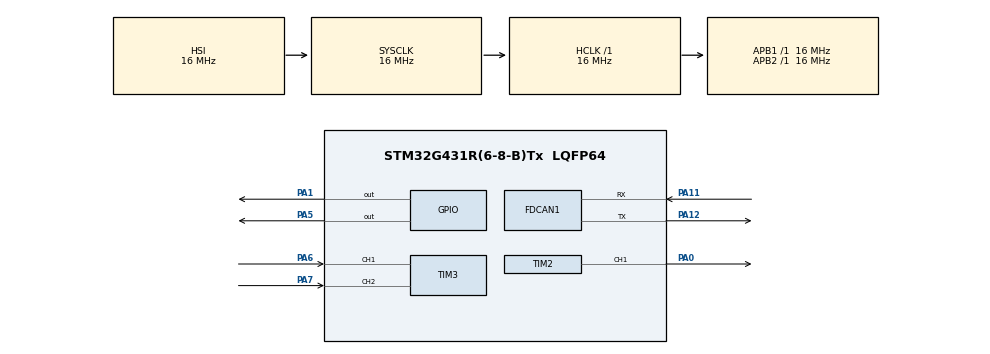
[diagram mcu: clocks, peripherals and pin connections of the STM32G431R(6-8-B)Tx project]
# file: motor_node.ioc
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FDCAN1.CalculateBaudRateNominal=500000
FDCAN1.CalculateTimeBitNominal=2000
FDCAN1.CalculateTimeQuantumNominal=125.0
FDCAN1.NominalPrescaler=2
FDCAN1.NominalSyncJumpWidth=2
FDCAN1.NominalTimeSeg1=13
FDCAN1.NominalTimeSeg2=2
FDCAN1.StdFiltersNbr=4
FREERTOS.Queues01=ControlCommandQueue,8,ControlCommand,0,Dynamic,NULL,NULL
FREERTOS.Tasks01=defaultTask,24,128,StartDefaultTask,Default,NULL,Dynamic,NULL,NULL;CAN_Rx_Task,24,256,StartCAN_Rx_Task,Default,NULL,Dynamic,NULL,NULL;CAN_Tx_Task,24,256,StartCAN_Tx_Task,Default,NULL,Dynamic,NULL,NULL;System_Task,24,256,StartSystem_Task,Default,NULL,Dynamic,NULL,NULL;Watchdog_Task,24,128,StartWatchdog_Task,Default,NULL,Dynamic,NULL,NULL
FREERTOS.configTOTAL_HEAP_SIZE=8192 
IWDG.Prescaler=IWDG_PRESCALER_16
IWDG.Reload=3999
Mcu.Family=STM32G4
Mcu.Name=STM32G431R(6-8-B)Tx
Mcu.Package=LQFP64
NVIC.FDCAN1_IT0_IRQn=true\:5\:0\:false\:false\:true\:true\:true\:true\:true
NVIC.PriorityGroup=NVIC_PRIORITYGROUP_4
NVIC.TIM6_DAC_IRQn=true\:5\:0\:false\:false\:true\:true\:true\:true\:true
PA0.Signal=S_TIM2_CH1
PA1.Signal=GPIO_Output
PA11.Mode=FDCAN_Activate
PA11.Signal=FDCAN1_RX
PA12.Mode=FDCAN_Activate
PA12.Signal=FDCAN1_TX
PA5.Signal=GPIO_Output
PA6.Signal=S_TIM3_CH1
PA7.Signal=S_TIM3_CH2
ProjectManager.HeapSize=0x200
ProjectManager.StackSize=0x400
ProjectManager.TargetToolchain=STM32CubeIDE
RCC.AHBFreq_Value=16000000
RCC.APB1Freq_Value=16000000
RCC.APB1TimFreq_Value=16000000
RCC.APB2Freq_Value=16000000
RCC.APB2TimFreq_Value=16000000
RCC.CortexFreq_Value=16000000
RCC.EXTERNAL_CLOCK_VALUE=12288000
RCC.HCLKFreq_Value=16000000
RCC.HSE_VALUE=8000000
RCC.HSI48_VALUE=48000000
RCC.HSI_VALUE=16000000
RCC.LSE_VALUE=32768
RCC.SYSCLKFreq_VALUE=16000000
RCC.USBFreq_Value=64000000
RCC.VCOOutputFreq_Value=128000000
SH.S_TIM2_CH1.0=TIM2_CH1,PWM Generation1 CH1
SH.S_TIM3_CH1.0=TIM3_CH1,Encoder_Interface
SH.S_TIM3_CH2.0=TIM3_CH2,Encoder_Interface
TIM2.Channel-PWM\ Generation1\ CH1=TIM_CHANNEL_1
TIM2.PeriodNoDither=799
TIM2.PulseNoDither_1=480
TIM3.EncoderMode=TIM_ENCODERMODE_TI12
TIM6.PeriodNoDither=99
TIM6.Prescaler=15999
VP_FREERTOS_VS_CMSIS_V2.Mode=CMSIS_V2
VP_IWDG_VS_IWDG.Mode=IWDG_Activate
VP_SYS_VS_DBSignals.Mode=DisableDeadBatterySignals
VP_TIM6_VS_ClockSourceINT.Mode=Enable_Timer
board=custom

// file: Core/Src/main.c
/* USER CODE BEGIN Header */
/**
  ******************************************************************************
  * @file           : main.c
  * @brief          : Main program body
  ******************************************************************************
  * @attention
  *
  * Copyright (c) 2026 STMicroelectronics.
  * All rights reserved.
  *
  * This software is licensed under terms that can be found in the LICENSE file
  * in the root directory of this software component.
  * If no LICENSE file comes with this software, it is provided AS-IS.
  *
  ******************************************************************************
  */
/* USER CODE END Header */
#include "main.h"
#include "cmsis_os.h"

/* USER CODE BEGIN Includes */

#include <math.h>

/* USER CODE END Includes */

/* USER CODE BEGIN PM */

#define ALIVE_SYSTEM_TASK   (1U << 0)
#define ALIVE_CAN_TX_TASK   (1U << 1)

volatile uint32_t task_alive_flags = 0; // 任务健康标志

#define PARAM_MAGIC          0x12345678U // 人为约定一个特殊标志
#define PARAM_FLASH_PAGE     63U
#define PARAM_FLASH_ADDRESS  0x0801F800U

/* USER CODE END PM */

FDCAN_HandleTypeDef hfdcan1;

IWDG_HandleTypeDef hiwdg;

TIM_HandleTypeDef htim2;
TIM_HandleTypeDef htim3;
TIM_HandleTypeDef htim6;

/* Definitions for defaultTask */
osThreadId_t defaultTaskHandle;
const osThreadAttr_t defaultTask_attributes = {
  .name = "defaultTask",
  .priority = (osPriority_t) osPriorityNormal,
  .stack_size = 128 * 4
};
/* Definitions for CAN_Rx_Task */
osThreadId_t CAN_Rx_TaskHandle;
const osThreadAttr_t CAN_Rx_Task_attributes = {
  .name = "CAN_Rx_Task",
  .priority = (osPriority_t) osPriorityNormal,
  .stack_size = 256 * 4
};
/* Definitions for CAN_Tx_Task */
osThreadId_t CAN_Tx_TaskHandle;
const osThreadAttr_t CAN_Tx_Task_attributes = {
  .name = "CAN_Tx_Task",
  .priority = (osPriority_t) osPriorityNormal,
  .stack_size = 256 * 4
};
/* Definitions for System_Task */
osThreadId_t System_TaskHandle;
const osThreadAttr_t System_Task_attributes = {
  .name = "System_Task",
  .priority = (osPriority_t) osPriorityNormal,
  .stack_size = 256 * 4
};
/* Definitions for Watchdog_Task */
osThreadId_t Watchdog_TaskHandle;
const osThreadAttr_t Watchdog_Task_attributes = {
  .name = "Watchdog_Task",
  .priority = (osPriority_t) osPriorityNormal,
  .stack_size = 128 * 4
};
/* Definitions for ControlCommandQueue */
osMessageQueueId_t ControlCommandQueueHandle;
const osMessageQueueAttr_t ControlCommandQueue_attributes = {
  .name = "ControlCommandQueue"
};
/* USER CODE BEGIN PV */

int cnt1 = 0, cnt2 = 0;

volatile uint16_t count_now = 0;
volatile uint16_t count_last = 0;
volatile int16_t delta_count = 0;
volatile float rpm = 0.0f;

volatile float target_rpm = 80.0f;   // 目标转速
volatile float error = 0.0f;          // 转速误差
volatile float kp = 4.0f;             // P控制比例系数

volatile float integral = 0.0f;  // I控制
volatile float ki = 0.2f;

volatile int32_t pwm_value = 480;

FDCAN_TxHeaderTypeDef txHeader;	// 发送头
uint8_t txData[4]; 				// 发送缓冲区

FDCAN_TxHeaderTypeDef txHeader202;
uint8_t txData202[4];

FDCAN_TxHeaderTypeDef txHeader203;
uint8_t txData203[4];

FDCAN_RxHeaderTypeDef rxHeader;	// 接受头
uint8_t rxData[8];				// 接受缓冲区

uint32_t last_report_tick = 0; 	// 用于发送电机数据

uint32_t last_local_cmd_tick = 0; 	// system_task断线超时检测
uint32_t last_remote_cmd_tick = 0;	// system_task断线超时检测

uint32_t stall_start_tick = 0; 	// 堵转开始时间
uint8_t stall_detecting = 0;	// 堵转检查
uint8_t stall_fault = 0;		// 堵转故障
uint8_t encoder_fault = 0;		// 编码器错误

// 简单状态机：PC控制-本地控制切换
typedef enum
{
    CONTROL_LOCAL = 0,
    CONTROL_REMOTE
} ControlMode;

volatile ControlMode control_mode = CONTROL_LOCAL;

volatile uint16_t local_target_rpm = 0;
volatile uint16_t remote_target_rpm = 0;

// 用于解耦的控制命令消息
typedef enum
{
    CMD_LOCAL_TARGET,
    CMD_REMOTE_CONTROL,
	CMD_CLEAR_FAULT, 	// fault状态机引入
	CMD_SET_PI_PARAMS, 	// flash修改引入
	CMD_SAVE_PI_PARAMS	// flash保存
} CommandType; 		// 控制类型

typedef struct
{
    CommandType type;

    uint16_t target_rpm;
    uint8_t mode;

    uint16_t kp_raw;	// flash修改引入
    uint16_t ki_raw;
} ControlCommand; 	// 控制指令

typedef enum
{
    SYSTEM_NORMAL = 0,
    SYSTEM_FAULT
} SystemState; 		// 系统状态

SystemState system_state = SYSTEM_NORMAL;

typedef enum
{
    FAULT_NONE = 0,
    FAULT_COMM_TIMEOUT, // 只有这个允许自动恢复
    FAULT_STALL,
    FAULT_ENCODER,
} FaultCode; 		// 错误码

FaultCode fault_code = FAULT_NONE;

// G4 的 Flash 编程单位不是随便按 32 位写、先用一次写8字节比较稳
typedef struct
{
    uint32_t magic; // 判断 Flash 这一块里的数据，是不是我们自己之前保存过的有效参数
    float kp;
    float ki;
    uint32_t reserved;
} PI_Params;

PI_Params *test_params; // 测试是否写入

/* USER CODE END PV */

void SystemClock_Config(void);
static void MX_GPIO_Init(void);
static void MX_FDCAN1_Init(void);
static void MX_TIM2_Init(void);
static void MX_TIM3_Init(void);
static void MX_TIM6_Init(void);
static void MX_IWDG_Init(void);
void StartDefaultTask(void *argument);
void StartCAN_Rx_Task(void *argument);
void StartCAN_Tx_Task(void *argument);
void StartSystem_Task(void *argument);
void StartWatchdog_Task(void *argument);

/* USER CODE BEGIN PFP */

HAL_StatusTypeDef SavePIParams(float kp, float ki);
void LoadPIParams(void);

/* USER CODE END PFP */

int main(void)
{

  /* MCU Configuration--------------------------------------------------------*/

  /* Reset of all peripherals, Initializes the Flash interface and the Systick. */
  HAL_Init();

  /* Configure the system clock */
  SystemClock_Config();

  /* Initialize all configured peripherals */
  MX_GPIO_Init();
  MX_FDCAN1_Init();
  MX_TIM2_Init();
  MX_TIM3_Init();
  MX_TIM6_Init();
  MX_IWDG_Init();
  /* USER CODE BEGIN 2 */
  LoadPIParams();

  test_params = (PI_Params *)PARAM_FLASH_ADDRESS;

  if (__HAL_RCC_GET_FLAG(RCC_FLAG_IWDGRST))
  {
      // 说明上一次是IWDG复位
	  HAL_GPIO_TogglePin(GPIOA, GPIO_PIN_5);
	  HAL_Delay(500);
	  HAL_GPIO_TogglePin(GPIOA, GPIO_PIN_5);
  }

  __HAL_RCC_CLEAR_RESET_FLAGS();

  HAL_TIM_PWM_Start(&htim2, TIM_CHANNEL_1); 		// 启动PWM
  HAL_TIM_Encoder_Start(&htim3, TIM_CHANNEL_ALL); 	// 启动编码器
  HAL_TIM_Base_Start_IT(&htim6); 					// 启动TIM6中断

  FDCAN_FilterTypeDef sFilterConfig;

  // 配置过滤器
  sFilterConfig.IdType = FDCAN_STANDARD_ID;
  sFilterConfig.FilterType = FDCAN_FILTER_MASK;
  sFilterConfig.FilterConfig = FDCAN_FILTER_TO_RXFIFO0;

  sFilterConfig.FilterIndex = 0;	// 过滤槽 Filter0
  sFilterConfig.FilterID1 = 0x123;	// 只接收 ID = 0x123
  sFilterConfig.FilterID2 = 0x7FF;	// 11 位标准 ID 的全掩码

  HAL_FDCAN_ConfigFilter(&hfdcan1, &sFilterConfig);

  sFilterConfig.FilterIndex = 1;	// 过滤槽 Filter1
  sFilterConfig.FilterID1 = 0x301;	// 只接收 ID = 0x301
  sFilterConfig.FilterID2 = 0x7FF;

  HAL_FDCAN_ConfigFilter(&hfdcan1, &sFilterConfig);

  sFilterConfig.FilterIndex = 2;	// 过滤槽 Filter2
  sFilterConfig.FilterID1 = 0x302;	// 只接收 ID = 0x302
  sFilterConfig.FilterID2 = 0x7FF;

  HAL_FDCAN_ConfigFilter(&hfdcan1, &sFilterConfig);

  sFilterConfig.FilterIndex = 3;	// 过滤槽 Filter3
  sFilterConfig.FilterID1 = 0x303;	// 只接收 ID = 0x303
  sFilterConfig.FilterID2 = 0x7FF;

  HAL_FDCAN_ConfigFilter(&hfdcan1, &sFilterConfig);

  HAL_FDCAN_ConfigGlobalFilter(
      &hfdcan1,
      FDCAN_REJECT, 		// 未匹配的 Standard ID → Reject
      FDCAN_REJECT,			// 未匹配的 Extended ID → Reject
      FDCAN_REJECT_REMOTE,	// Standard Remote Frame → Reject
      FDCAN_REJECT_REMOTE	// Extended Remote Frame → Reject
  );

  HAL_FDCAN_Start(&hfdcan1);
  HAL_FDCAN_ActivateNotification(&hfdcan1, FDCAN_IT_RX_FIFO0_NEW_MESSAGE, 0); // 启动FDCAN中断

  // 初始化发送头
  txHeader.Identifier = 0x201;
  txHeader.IdType = FDCAN_STANDARD_ID;
  txHeader.TxFrameType = FDCAN_DATA_FRAME;
  txHeader.DataLength = FDCAN_DLC_BYTES_4;
  txHeader.ErrorStateIndicator = FDCAN_ESI_ACTIVE;
  txHeader.BitRateSwitch = FDCAN_BRS_OFF;
  txHeader.FDFormat = FDCAN_CLASSIC_CAN;
  txHeader.TxEventFifoControl = FDCAN_NO_TX_EVENTS;
  txHeader.MessageMarker = 0;

  txHeader202.Identifier = 0x202;
  txHeader202.IdType = FDCAN_STANDARD_ID;
  txHeader202.TxFrameType = FDCAN_DATA_FRAME;
  txHeader202.DataLength = FDCAN_DLC_BYTES_4;
  txHeader202.ErrorStateIndicator = FDCAN_ESI_ACTIVE;
  txHeader202.BitRateSwitch = FDCAN_BRS_OFF;
  txHeader202.FDFormat = FDCAN_CLASSIC_CAN;
  txHeader202.TxEventFifoControl = FDCAN_NO_TX_EVENTS;
  txHeader202.MessageMarker = 0;

  txHeader203.Identifier = 0x203;
  txHeader203.IdType = FDCAN_STANDARD_ID;
  txHeader203.TxFrameType = FDCAN_DATA_FRAME;
  txHeader203.DataLength = FDCAN_DLC_BYTES_4;
  txHeader203.ErrorStateIndicator = FDCAN_ESI_ACTIVE;
  txHeader203.BitRateSwitch = FDCAN_BRS_OFF;
  txHeader203.FDFormat = FDCAN_CLASSIC_CAN;
  txHeader203.TxEventFifoControl = FDCAN_NO_TX_EVENTS;
  txHeader203.MessageMarker = 0;

  /* USER CODE END 2 */

  /* Init scheduler */
  osKernelInitialize();

  /* Create the queue(s) */
  /* creation of ControlCommandQueue */
  ControlCommandQueueHandle = osMessageQueueNew (8, sizeof(ControlCommand), &ControlCommandQueue_attributes);

  /* Create the thread(s) */
  /* creation of defaultTask */
  defaultTaskHandle = osThreadNew(StartDefaultTask, NULL, &defaultTask_attributes);

  /* creation of CAN_Rx_Task */
  CAN_Rx_TaskHandle = osThreadNew(StartCAN_Rx_Task, NULL, &CAN_Rx_Task_attributes);

  /* creation of CAN_Tx_Task */
  CAN_Tx_TaskHandle = osThreadNew(StartCAN_Tx_Task, NULL, &CAN_Tx_Task_attributes);

  /* creation of System_Task */
  System_TaskHandle = osThreadNew(StartSystem_Task, NULL, &System_Task_attributes);

  /* creation of Watchdog_Task */
  Watchdog_TaskHandle = osThreadNew(StartWatchdog_Task, NULL, &Watchdog_Task_attributes);

  /* Start scheduler */
  osKernelStart();

  /* We should never get here as control is now taken by the scheduler */

  /* Infinite loop */
  while (1)
  {

  }
}

void SystemClock_Config(void)
{
  RCC_OscInitTypeDef RCC_OscInitStruct = {0};
  RCC_ClkInitTypeDef RCC_ClkInitStruct = {0};

  /** Configure the main internal regulator output voltage
  */
  HAL_PWREx_ControlVoltageScaling(PWR_REGULATOR_VOLTAGE_SCALE1);

  /** Initializes the RCC Oscillators according to the specified parameters
  * in the RCC_OscInitTypeDef structure.
  */
  RCC_OscInitStruct.OscillatorType = RCC_OSCILLATORTYPE_HSI|RCC_OSCILLATORTYPE_LSI;
  RCC_OscInitStruct.HSIState = RCC_HSI_ON;
  RCC_OscInitStruct.HSICalibrationValue = RCC_HSICALIBRATION_DEFAULT;
  RCC_OscInitStruct.LSIState = RCC_LSI_ON;
  RCC_OscInitStruct.PLL.PLLState = RCC_PLL_NONE;
  if (HAL_RCC_OscConfig(&RCC_OscInitStruct) != HAL_OK)
  {
    Error_Handler();
  }

  /** Initializes the CPU, AHB and APB buses clocks
  */
  RCC_ClkInitStruct.ClockType = RCC_CLOCKTYPE_HCLK|RCC_CLOCKTYPE_SYSCLK
                              |RCC_CLOCKTYPE_PCLK1|RCC_CLOCKTYPE_PCLK2;
  RCC_ClkInitStruct.SYSCLKSource = RCC_SYSCLKSOURCE_HSI;
  RCC_ClkInitStruct.AHBCLKDivider = RCC_SYSCLK_DIV1;
  RCC_ClkInitStruct.APB1CLKDivider = RCC_HCLK_DIV1;
  RCC_ClkInitStruct.APB2CLKDivider = RCC_HCLK_DIV1;

  if (HAL_RCC_ClockConfig(&RCC_ClkInitStruct, FLASH_LATENCY_0) != HAL_OK)
  {
    Error_Handler();
  }
}

static void MX_FDCAN1_Init(void)
{

  hfdcan1.Instance = FDCAN1;
  hfdcan1.Init.ClockDivider = FDCAN_CLOCK_DIV1;
  hfdcan1.Init.FrameFormat = FDCAN_FRAME_CLASSIC;
  hfdcan1.Init.Mode = FDCAN_MODE_NORMAL;
  hfdcan1.Init.AutoRetransmission = DISABLE;
  hfdcan1.Init.TransmitPause = DISABLE;
  hfdcan1.Init.ProtocolException = DISABLE;
  hfdcan1.Init.NominalPrescaler = 2;
  hfdcan1.Init.NominalSyncJumpWidth = 2;
  hfdcan1.Init.NominalTimeSeg1 = 13;
  hfdcan1.Init.NominalTimeSeg2 = 2;
  hfdcan1.Init.DataPrescaler = 1;
  hfdcan1.Init.DataSyncJumpWidth = 1;
  hfdcan1.Init.DataTimeSeg1 = 1;
  hfdcan1.Init.DataTimeSeg2 = 1;
  hfdcan1.Init.StdFiltersNbr = 4;
  hfdcan1.Init.ExtFiltersNbr = 0;
  hfdcan1.Init.TxFifoQueueMode = FDCAN_TX_FIFO_OPERATION;
  if (HAL_FDCAN_Init(&hfdcan1) != HAL_OK)
  {
    Error_Handler();
  }

}

static void MX_IWDG_Init(void)
{

  hiwdg.Instance = IWDG;
  hiwdg.Init.Prescaler = IWDG_PRESCALER_16;
  hiwdg.Init.Window = 4095;
  hiwdg.Init.Reload = 3999;
  if (HAL_IWDG_Init(&hiwdg) != HAL_OK)
  {
    Error_Handler();
  }

}

static void MX_TIM2_Init(void)
{

  TIM_MasterConfigTypeDef sMasterConfig = {0};
  TIM_OC_InitTypeDef sConfigOC = {0};

  htim2.Instance = TIM2;
  htim2.Init.Prescaler = 0;
  htim2.Init.CounterMode = TIM_COUNTERMODE_UP;
  htim2.Init.Period = 799;
  htim2.Init.ClockDivision = TIM_CLOCKDIVISION_DIV1;
  htim2.Init.AutoReloadPreload = TIM_AUTORELOAD_PRELOAD_DISABLE;
  if (HAL_TIM_PWM_Init(&htim2) != HAL_OK)
  {
    Error_Handler();
  }
  sMasterConfig.MasterOutputTrigger = TIM_TRGO_RESET;
  sMasterConfig.MasterSlaveMode = TIM_MASTERSLAVEMODE_DISABLE;
  if (HAL_TIMEx_MasterConfigSynchronization(&htim2, &sMasterConfig) != HAL_OK)
  {
    Error_Handler();
  }
  sConfigOC.OCMode = TIM_OCMODE_PWM1;
  sConfigOC.Pulse = 480;
  sConfigOC.OCPolarity = TIM_OCPOLARITY_HIGH;
  sConfigOC.OCFastMode = TIM_OCFAST_DISABLE;
  if (HAL_TIM_PWM_ConfigChannel(&htim2, &sConfigOC, TIM_CHANNEL_1) != HAL_OK)
  {
    Error_Handler();
  }
  HAL_TIM_MspPostInit(&htim2);

}

static void MX_TIM3_Init(void)
{

  TIM_Encoder_InitTypeDef sConfig = {0};
  TIM_MasterConfigTypeDef sMasterConfig = {0};

  htim3.Instance = TIM3;
  htim3.Init.Prescaler = 0;
  htim3.Init.CounterMode = TIM_COUNTERMODE_UP;
  htim3.Init.Period = 65535;
  htim3.Init.ClockDivision = TIM_CLOCKDIVISION_DIV1;
  htim3.Init.AutoReloadPreload = TIM_AUTORELOAD_PRELOAD_DISABLE;
  sConfig.EncoderMode = TIM_ENCODERMODE_TI12;
  sConfig.IC1Polarity = TIM_ICPOLARITY_RISING;
  sConfig.IC1Selection = TIM_ICSELECTION_DIRECTTI;
  sConfig.IC1Prescaler = TIM_ICPSC_DIV1;
  sConfig.IC1Filter = 0;
  sConfig.IC2Polarity = TIM_ICPOLARITY_RISING;
  sConfig.IC2Selection = TIM_ICSELECTION_DIRECTTI;
  sConfig.IC2Prescaler = TIM_ICPSC_DIV1;
  sConfig.IC2Filter = 0;
  if (HAL_TIM_Encoder_Init(&htim3, &sConfig) != HAL_OK)
  {
    Error_Handler();
  }
  sMasterConfig.MasterOutputTrigger = TIM_TRGO_RESET;
  sMasterConfig.MasterSlaveMode = TIM_MASTERSLAVEMODE_DISABLE;
  if (HAL_TIMEx_MasterConfigSynchronization(&htim3, &sMasterConfig) != HAL_OK)
  {
    Error_Handler();
  }

}

static void MX_TIM6_Init(void)
{

  TIM_MasterConfigTypeDef sMasterConfig = {0};

  htim6.Instance = TIM6;
  htim6.Init.Prescaler = 15999;
  htim6.Init.CounterMode = TIM_COUNTERMODE_UP;
  htim6.Init.Period = 99;
  htim6.Init.AutoReloadPreload = TIM_AUTORELOAD_PRELOAD_DISABLE;
  if (HAL_TIM_Base_Init(&htim6) != HAL_OK)
  {
    Error_Handler();
  }
  sMasterConfig.MasterOutputTrigger = TIM_TRGO_RESET;
  sMasterConfig.MasterSlaveMode = TIM_MASTERSLAVEMODE_DISABLE;
  if (HAL_TIMEx_MasterConfigSynchronization(&htim6, &sMasterConfig) != HAL_OK)
  {
    Error_Handler();
  }

}

static void MX_GPIO_Init(void)
{
  GPIO_InitTypeDef GPIO_InitStruct = {0};

  /* GPIO Ports Clock Enable */
  __HAL_RCC_GPIOA_CLK_ENABLE();

  /*Configure GPIO pin Output Level */
  HAL_GPIO_WritePin(GPIOA, GPIO_PIN_1|GPIO_PIN_5, GPIO_PIN_RESET);

  /*Configure GPIO pins : PA1 PA5 */
  GPIO_InitStruct.Pin = GPIO_PIN_1|GPIO_PIN_5;
  GPIO_InitStruct.Mode = GPIO_MODE_OUTPUT_PP;
  GPIO_InitStruct.Pull = GPIO_NOPULL;
  GPIO_InitStruct.Speed = GPIO_SPEED_FREQ_LOW;
  HAL_GPIO_Init(GPIOA, &GPIO_InitStruct);

}

/* USER CODE BEGIN 4 */

HAL_StatusTypeDef SavePIParams(float kp_value, float ki_value)
{
	PI_Params *old_params = (PI_Params *)PARAM_FLASH_ADDRESS;

	/* Flash里已有有效参数 */
	if (old_params->magic == PARAM_MAGIC)
	{
		/* 新参数与旧参数相同，则不重复擦写 */
		if (fabsf(old_params->kp - kp_value) < 0.0001f && fabsf(old_params->ki - ki_value) < 0.0001f)
		{
			return HAL_OK;
		}
	}

	// /* 下面才是真正的擦除 + 写入 */
    HAL_StatusTypeDef status;
    FLASH_EraseInitTypeDef eraseInit;
    uint32_t pageError = 0;

    PI_Params params;
    params.magic = PARAM_MAGIC;
    params.kp = kp_value;
    params.ki = ki_value;
    params.reserved = 0xFFFFFFFFU;

    HAL_FLASH_Unlock();

    eraseInit.TypeErase = FLASH_TYPEERASE_PAGES;
    eraseInit.Banks = FLASH_BANK_1;
    eraseInit.Page = PARAM_FLASH_PAGE;
    eraseInit.NbPages = 1;

    status = HAL_FLASHEx_Erase(&eraseInit, &pageError);

    if (status != HAL_OK)
    {
        HAL_FLASH_Lock();
        return status;
    }

    uint64_t *src = (uint64_t *)&params;

    status = HAL_FLASH_Program(FLASH_TYPEPROGRAM_DOUBLEWORD, PARAM_FLASH_ADDRESS, src[0]);

    if (status != HAL_OK)
    {
        HAL_FLASH_Lock();
        return status;
    }

    status = HAL_FLASH_Program(FLASH_TYPEPROGRAM_DOUBLEWORD, PARAM_FLASH_ADDRESS + 8, src[1]);

    HAL_FLASH_Lock();

    return status;
}

void LoadPIParams(void)
{
    PI_Params *params = (PI_Params *)PARAM_FLASH_ADDRESS;

    if (params->magic == PARAM_MAGIC)
    {
    	// 如果是之前约定好的参数
        kp = params->kp;
        ki = params->ki;
    }
    else
    {
        kp = 4.0f;
        ki = 0.2f;
    }
}

void HAL_FDCAN_RxFifo0Callback(FDCAN_HandleTypeDef *hfdcan, uint32_t RxFifo0ITs)
{
    if (hfdcan->Instance == FDCAN1)
    {
    	// 通知FDCAN1有消息帧来了
        if (RxFifo0ITs & FDCAN_IT_RX_FIFO0_NEW_MESSAGE)
        {
        	/* RTOS 内核会知道某个 Task 正在等 0x01
        	 * 现在 0x01 被 set，Task 从 Blocked → Ready
        	 * 所以不是 Task 自己一直轮询“有没有被唤醒”，而是 RTOS 内核在管理它的等待条件
        	 * */
            osThreadFlagsSet(CAN_Rx_TaskHandle, 0x01);
        }
    }
}

void HAL_TIM_PeriodElapsedCallback(TIM_HandleTypeDef *htim)
{
    if (htim->Instance == TIM6)
    {
    	// TIM6中断 -> 100ms触发一次
        count_now = __HAL_TIM_GET_COUNTER(&htim3);

        delta_count = (int16_t)(count_now - count_last);

        rpm = delta_count * 0.4f;

        count_last = count_now;

        // PI 控制
        error = target_rpm - rpm;

        float p_term = kp * error;

		float i_candidate = integral + error * 0.1f; // 抗饱和积分

		float output_candidate = 480.0f + p_term + ki * i_candidate;

		// 只有积分不会把输出继续推向饱和时，才接受这次积分
		if (!((output_candidate >= 799.0f && error > 0.0f) || (output_candidate <= 0.0f && error < 0.0f)))
		{
			integral = i_candidate;
		}

		float output = 480.0f + kp * error + ki * integral;

		if (output > 799.0f)
			output = 799.0f;

		if (output < 0.0f)
			output = 0.0f;

		pwm_value = (int32_t)output;

		__HAL_TIM_SET_COMPARE(&htim2, TIM_CHANNEL_1, pwm_value);
    }
}

/* USER CODE END 4 */

void StartDefaultTask(void *argument)
{
  /* USER CODE BEGIN 5 */
  /* Infinite loop */
  for(;;)
  {
//	HAL_GPIO_TogglePin(GPIOA, GPIO_PIN_5);
	osDelay(500);
  }
  /* USER CODE END 5 */
}

void StartCAN_Rx_Task(void *argument)
{
  /* USER CODE BEGIN StartCAN_Rx_Task */
  /* Infinite loop */
  for(;;)
  {
	// 当前 Task 等待线程标志 0x01，一直等到有人设置这个标志，若没有则进入 Blocked
	osThreadFlagsWait(0x01, osFlagsWaitAny, osWaitForever);

	while (HAL_FDCAN_GetRxFifoFillLevel(&hfdcan1, FDCAN_RX_FIFO0) > 0)
	{
		// 收帧 → 看ID → 解析 → 丢进Queue → 结束

		HAL_FDCAN_GetRxMessage(&hfdcan1, FDCAN_RX_FIFO0, &rxHeader, rxData);

		if (rxHeader.Identifier == 0x123)
		{
			ControlCommand cmd;

			cmd.type = CMD_LOCAL_TARGET;
			cmd.target_rpm = ((uint16_t)rxData[0] << 8) | rxData[1];

			osMessageQueuePut(ControlCommandQueueHandle, &cmd, 0, 0);
		}

		else if (rxHeader.Identifier == 0x301)
		{
			ControlCommand cmd;

			cmd.type = CMD_REMOTE_CONTROL;
			cmd.mode = rxData[0];

			cmd.target_rpm = ((uint16_t)rxData[1] << 8) | rxData[2];

			osMessageQueuePut(ControlCommandQueueHandle, &cmd, 0, 0);
		}

		else if (rxHeader.Identifier == 0x302)
		{
		    if (rxData[0] == 0x01)
		    {
		        ControlCommand cmd = {0};

		        cmd.type = CMD_CLEAR_FAULT;

		        osMessageQueuePut(ControlCommandQueueHandle, &cmd, 0, 0);
		    }
		}

		else if (rxHeader.Identifier == 0x303)
		{
	        ControlCommand cmd = {0};

		    if (rxData[0] == 0x01)
		    {
		        cmd.type = CMD_SET_PI_PARAMS;

		        cmd.kp_raw = ((uint16_t)rxData[1] << 8) | rxData[2];
		        cmd.ki_raw = ((uint16_t)rxData[3] << 8) | rxData[4];

		        osMessageQueuePut(ControlCommandQueueHandle, &cmd, 0, 0);
		    }
		    else if (rxData[0] == 0x02)
			{
				cmd.type = CMD_SAVE_PI_PARAMS;

				osMessageQueuePut(ControlCommandQueueHandle, &cmd, 0, 0);
			}
		}
	}
  }
  /* USER CODE END StartCAN_Rx_Task */
}

void StartCAN_Tx_Task(void *argument)
{
  /* USER CODE BEGIN StartCAN_Tx_Task */
  /* Infinite loop */
  for(;;)
  {
	taskENTER_CRITICAL();
	task_alive_flags |= ALIVE_CAN_TX_TASK; // 看门狗
	taskEXIT_CRITICAL();

	// 向上位机反馈：实际转速，PWM值
	if (HAL_GetTick() - last_report_tick >= 100)
	{
		last_report_tick = HAL_GetTick();

		float rpm_snapshot;
		int32_t pwm_snapshot;

		taskENTER_CRITICAL();
		rpm_snapshot = rpm; // 快照：防止中途被中断从而一个周期内放置不同场景的数据
		pwm_snapshot = pwm_value;
		taskEXIT_CRITICAL();

		uint16_t rpm_u16 = (uint16_t)rpm_snapshot;
		uint16_t pwm_u16 = (uint16_t)pwm_snapshot;

		txData[0] = (rpm_u16 >> 8) & 0xFF;
		txData[1] = rpm_u16 & 0xFF;
		txData[2] = (pwm_u16 >> 8) & 0xFF;
		txData[3] = pwm_u16 & 0xFF;

		HAL_FDCAN_AddMessageToTxFifoQ(&hfdcan1, &txHeader, txData);

		/*
		 * Byte0: system_state	→	0 = SYSTEM_NORMAL	1 = SYSTEM_FAUL
		 * Byte1: fault_code 	→	0 = FAULT_NONE、 	1 = FAULT_COMM_TIMEOUT	 2 = FAULT_STALL   3 = FAULT_ENCODER
		 * Byte2: control_mode 	→ 	0 = LOCAL、 			1 = REMOTE
		 * */

		txData202[0] = (uint8_t)system_state;
		txData202[1] = (uint8_t)fault_code;
		txData202[2] = (uint8_t)control_mode;
		txData202[3] = 0;

		HAL_FDCAN_AddMessageToTxFifoQ(&hfdcan1, &txHeader202, txData202);

		float kp_snapshot;
		float ki_snapshot;

		taskENTER_CRITICAL();
		kp_snapshot = kp;
		ki_snapshot = ki;
		taskEXIT_CRITICAL();

		uint16_t kp_u16 = (uint16_t)lroundf(kp_snapshot * 100.0f);
		uint16_t ki_u16 = (uint16_t)lroundf(ki_snapshot * 1000.0f);

		txData203[0] = (kp_u16 >> 8) & 0xFF;
		txData203[1] = kp_u16 & 0xFF;
		txData203[2] = (ki_u16 >> 8) & 0xFF;
		txData203[3] = ki_u16 & 0xFF;

		HAL_FDCAN_AddMessageToTxFifoQ(&hfdcan1, &txHeader203, txData203);

	}
    osDelay(1);
  }
  /* USER CODE END StartCAN_Tx_Task */
}

void StartSystem_Task(void *argument)
{
  /* USER CODE BEGIN StartSystem_Task */
  /* Infinite loop */

  ControlCommand cmd;

  for(;;)
  {
	/* 最多阻塞50ms
	 * 50ms内有消息就立刻返回 osOK
	 * 50ms内没消息就超时返回
	 * */
	taskENTER_CRITICAL();
	task_alive_flags |= ALIVE_SYSTEM_TASK; // 看门狗
	taskEXIT_CRITICAL();

	if (osMessageQueueGet(ControlCommandQueueHandle, &cmd, NULL, 50) == osOK)
	{
		if (cmd.type == CMD_LOCAL_TARGET)
		{
			local_target_rpm = cmd.target_rpm;
			last_local_cmd_tick = HAL_GetTick(); // 获取时间戳，判断超时用

			if (control_mode == CONTROL_LOCAL)
			{
				// CAN超时可自动恢复，无需PC手动抹除错误
				if (system_state == SYSTEM_FAULT && fault_code == FAULT_COMM_TIMEOUT)
				{
					system_state = SYSTEM_NORMAL;
					fault_code = FAULT_NONE;
				}

				if (system_state == SYSTEM_NORMAL)
				{
					target_rpm = (float)local_target_rpm;
				}
			}
		}

		else if (cmd.type == CMD_REMOTE_CONTROL)
		{
			if (cmd.mode == 0)
			{
				control_mode = CONTROL_LOCAL;
				target_rpm = (float)local_target_rpm;
			}

			else if (cmd.mode == 1)
			{
				control_mode = CONTROL_REMOTE;
				remote_target_rpm = cmd.target_rpm;
				last_remote_cmd_tick = HAL_GetTick(); // 获取时间戳，判断超时用

				// CAN超时可自动恢复，无需PC手动抹除错误
				if (system_state == SYSTEM_FAULT && fault_code == FAULT_COMM_TIMEOUT)
				{
					system_state = SYSTEM_NORMAL;
					fault_code = FAULT_NONE;
				}

				if (system_state == SYSTEM_NORMAL)
				{
					target_rpm = (float)remote_target_rpm;
				}
			}
		}

		else if (cmd.type == CMD_CLEAR_FAULT)
		{
		    if (system_state == SYSTEM_FAULT)
		    {
		        if (fabsf(rpm) < 10.0f)
		        {
		            system_state = SYSTEM_NORMAL; // 清除错误状态
		            fault_code = FAULT_NONE;
		            stall_detecting = 0;
		            target_rpm = 0;
		        }
		    }
		}

		else if (cmd.type == CMD_SET_PI_PARAMS)
		{
		    kp = (float)cmd.kp_raw / 100.0f;
		    ki = (float)cmd.ki_raw / 1000.0f;
		}

		else if (cmd.type == CMD_SAVE_PI_PARAMS)
		{
		    SavePIParams(kp, ki);
		}
	}

	uint32_t now = HAL_GetTick();

	// CAN通信超时检测
	if (control_mode == CONTROL_LOCAL)
	{
		if ((uint32_t)(now - last_local_cmd_tick) > 500)
		{
			// 只有当前没有更严重锁存故障时，COMM_TIMEOUT 才允许写入 fault_code
			if (fault_code == FAULT_NONE || fault_code == FAULT_COMM_TIMEOUT)
			{
				system_state = SYSTEM_FAULT;
				fault_code = FAULT_COMM_TIMEOUT;
			}
		}
	}
	else if (control_mode == CONTROL_REMOTE)
	{
		if ((uint32_t)(now - last_remote_cmd_tick) > 500)
		{
			// 只有当前没有更严重锁存故障时，COMM_TIMEOUT 才允许写入 fault_code
			if (fault_code == FAULT_NONE || fault_code == FAULT_COMM_TIMEOUT)
			{
				system_state = SYSTEM_FAULT;
				fault_code = FAULT_COMM_TIMEOUT;
			}
		}
	}

	// 堵转检测
	if (target_rpm > 100 && pwm_value > 500 && fabsf(rpm) < 10.0f)
	{
		if (!stall_detecting)
		{
			stall_detecting = 1; // 堵转标记
			stall_start_tick = now;
		}
		else
		{
			if ((uint32_t)(now - stall_start_tick) > 1000)
			{
				system_state = SYSTEM_FAULT;
				fault_code = FAULT_STALL;
			}
		}
	}
	else
	{
		stall_detecting = 0;
	}

	// 编码器测速错误检测
	if (fabsf(rpm) > 288.0f)
	{
		system_state = SYSTEM_FAULT;
		fault_code = FAULT_ENCODER;
	}

	/* 故障拥有最高优先级 */
	if (system_state == SYSTEM_FAULT)
	{
	    target_rpm = 0;
	}

  }
  /* USER CODE END StartSystem_Task */
}

void StartWatchdog_Task(void *argument)
{
  /* USER CODE BEGIN StartWatchdog_Task */
  /* Infinite loop */
  for(;;)
  {
	  osDelay(500);

	  uint32_t flags;

	  taskENTER_CRITICAL();

	  flags = task_alive_flags;
	  task_alive_flags = 0;

	  taskEXIT_CRITICAL();

	  if ((flags & (ALIVE_SYSTEM_TASK | ALIVE_CAN_TX_TASK)) == (ALIVE_SYSTEM_TASK | ALIVE_CAN_TX_TASK))
	  {
		  HAL_IWDG_Refresh(&hiwdg);
	  }
  }
  /* USER CODE END StartWatchdog_Task */
}

void Error_Handler(void)
{
  __disable_irq();
  while (1)
  {
  }
}
